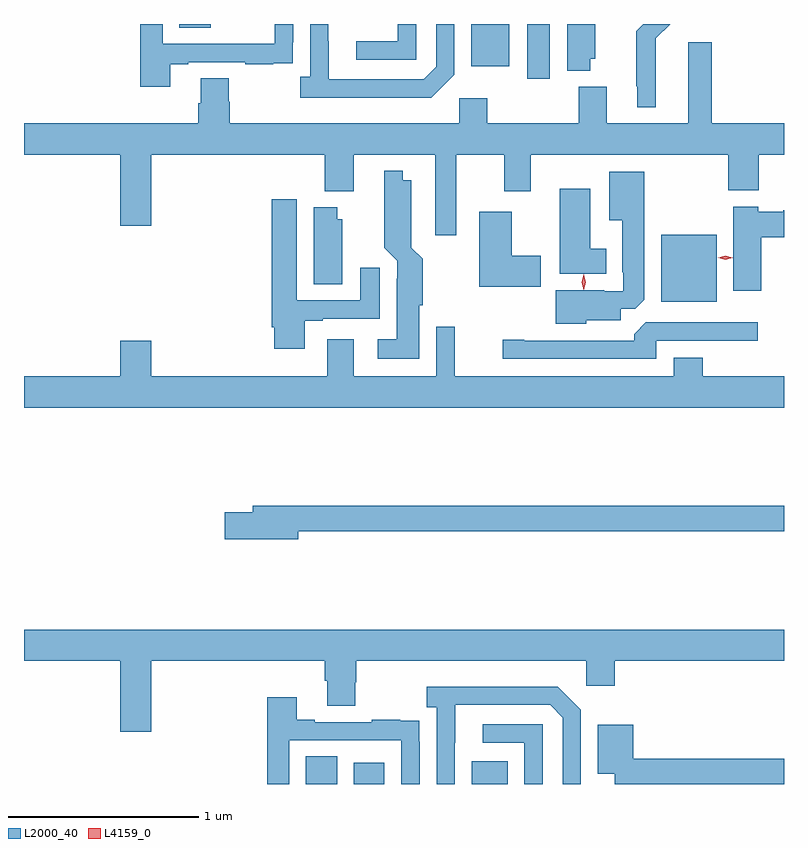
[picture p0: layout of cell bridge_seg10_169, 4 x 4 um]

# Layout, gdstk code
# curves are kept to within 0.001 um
import gdstk
lib = gdstk.Library(unit=1e-6, precision=1e-09)
def R(c, l, rs):  # rectangles x0, y0, x1, y1
    for r in rs: c.add(gdstk.rectangle(r[:2], r[2:], *l))
def P(c, l, *ps):  # polygons
    for p in ps: c.add(gdstk.Polygon(p, *l))
L2000_40 = (2000, 40)
L4159_0 = (4159, 0)

bridge_seg10_169 = lib.new_cell('bridge_seg10_169')
R(bridge_seg10_169, L2000_40, [(225.926,1281.019,226.09,1281.164), (226.178,1281.019,226.339,1281.13), (226.799,1281.019,226.987,1281.139), (227.795,1283.558,228.088,1283.911), (227.09,1284.732,227.209,1285.019), (226.796,1284.797,226.996,1285.019), (225.26,1285,225.424,1285.019)])
P(bridge_seg10_169, L2000_40, [(225.211,1284.807),(225.307,1284.807),(225.307,1284.819),(225.607,1284.819),(225.607,1284.807),(225.755,1284.807),(225.755,1284.813),(225.857,1284.813),(225.857,1284.922),(225.858,1284.922),(225.858,1285.019),(225.762,1285.019),(225.762,1284.915),(225.171,1284.915),(225.171,1285.019),(225.055,1285.019),(225.055,1284.69),(225.211,1284.69)],
  [(226.707,1284.753),(226.707,1285.019),(226.611,1285.019),(226.611,1284.795),(226.545,1284.729),(226.045,1284.729),(226.044,1285.019),(225.948,1285.019),(225.948,1284.742),(225.897,1284.742),(225.897,1284.632),(226.586,1284.632)],
  [(227.422,1284.837),(227.449,1284.837),(227.449,1285.019),(227.3,1285.019),(227.3,1284.773),(227.422,1284.773)],
  [(226.506,1285.019),(226.41,1285.019),(226.41,1284.927),(226.191,1284.927),(226.191,1284.831),(226.506,1284.831)],
  [(227.767,1284.944),(227.842,1285.019),(227.702,1285.019),(227.665,1284.982),(227.665,1284.691),(227.669,1284.691),(227.669,1284.581),(227.767,1284.581)],
  [(228.062,1284.922),(227.939,1284.922),(227.939,1284.496),(227.509,1284.496),(227.509,1284.688),(227.362,1284.688),(227.362,1284.496),(226.881,1284.496),(226.881,1284.628),(226.734,1284.628),(226.734,1284.496),(225.524,1284.496),(225.524,1284.609),(225.519,1284.609),(225.519,1284.734),(225.371,1284.734),(225.371,1284.602),(225.359,1284.602),(225.359,1284.496),(224.442,1284.496),(224.442,1284.332),(224.948,1284.332),(224.948,1283.958),(225.112,1283.958),(225.112,1284.332),(226.025,1284.332),(226.025,1284.14),(226.177,1284.14),(226.177,1284.332),(226.607,1284.332),(226.607,1283.907),(226.717,1283.907),(226.717,1284.332),(226.97,1284.332),(226.97,1284.138),(227.11,1284.138),(227.11,1284.332),(228.148,1284.332),(228.148,1284.143),(228.308,1284.143),(228.308,1284.332),(228.442,1284.332),(228.442,1284.496),(228.062,1284.496)],
  [(226.522,1283.538),(226.54,1283.538),(226.54,1283.783),(226.481,1283.842),(226.48,1284.196),(226.435,1284.196),(226.435,1284.247),(226.338,1284.247),(226.337,1283.842),(226.407,1283.772),(226.407,1283.678),(226.403,1283.678),(226.403,1283.359),(226.305,1283.359),(226.305,1283.258),(226.522,1283.258)],
  [(227.4,1283.459),(227.584,1283.459),(227.584,1283.52),(227.658,1283.52),(227.707,1283.569),(227.707,1284.241),(227.522,1284.241),(227.522,1283.987),(227.591,1283.987),(227.591,1283.713),(227.595,1283.713),(227.595,1283.613),(227.495,1283.613),(227.495,1283.617),(227.24,1283.617),(227.24,1283.441),(227.4,1283.441)],
  [(227.506,1283.836),(227.422,1283.836),(227.422,1284.151),(227.261,1284.151),(227.261,1283.705),(227.506,1283.705)],
  [(225.919,1283.457),(226.015,1283.457),(226.015,1283.469),(226.315,1283.469),(226.315,1283.737),(226.211,1283.737),(226.211,1283.565),(225.877,1283.565),(225.877,1284.097),(225.746,1284.097),(225.746,1283.422),(225.758,1283.422),(225.758,1283.31),(225.919,1283.31)],
  [(228.323,1283.897),(228.442,1283.897),(228.442,1284.039),(228.437,1284.039),(228.437,1284.031),(228.306,1284.031),(228.306,1284.058),(228.176,1284.058),(228.176,1283.616),(228.323,1283.616)],
  [(226.117,1283.991),(226.09,1283.991),(226.09,1284.055),(225.968,1284.055),(225.968,1283.65),(226.117,1283.65)],
  [(227.161,1283.799),(227.008,1283.799),(227.008,1284.031),(226.838,1284.031),(226.838,1283.636),(227.161,1283.636)],
  [(227.769,1283.352),(228.304,1283.352),(228.304,1283.448),(227.715,1283.448),(227.654,1283.386),(227.654,1283.352),(227.074,1283.352),(227.074,1283.357),(226.962,1283.357),(226.962,1283.256),(227.769,1283.256)],
  [(226.611,1283.425),(226.611,1283.164),(226.177,1283.164),(226.177,1283.359),(226.037,1283.359),(226.037,1283.164),(225.112,1283.164),(225.112,1283.353),(224.948,1283.353),(224.948,1283.164),(224.442,1283.164),(224.442,1283),(228.442,1283),(228.442,1283.164),(228.014,1283.164),(228.014,1283.263),(227.861,1283.263),(227.861,1283.164),(226.71,1283.164),(226.71,1283.425)],
  [(225.886,1282.348),(228.442,1282.348),(228.442,1282.484),(225.647,1282.484),(225.647,1282.448),(225.498,1282.448),(225.498,1282.306),(225.886,1282.306)],
  [(225.112,1281.668),(226.025,1281.668),(226.025,1281.562),(226.037,1281.562),(226.037,1281.43),(226.185,1281.43),(226.185,1281.555),(226.19,1281.555),(226.19,1281.668),(227.4,1281.668),(227.4,1281.537),(227.552,1281.537),(227.552,1281.668),(228.442,1281.668),(228.442,1281.832),(224.442,1281.832),(224.442,1281.668),(224.948,1281.668),(224.948,1281.294),(225.112,1281.294)],
  [(226.71,1281.235),(226.711,1281.435),(227.211,1281.435),(227.277,1281.369),(227.277,1281.019),(227.373,1281.019),(227.373,1281.411),(227.252,1281.532),(226.563,1281.532),(226.563,1281.422),(226.614,1281.422),(226.614,1281.019),(226.71,1281.019)],
  [(225.837,1281.249),(226.428,1281.249),(226.428,1281.019),(226.524,1281.019),(226.524,1281.242),(226.523,1281.242),(226.523,1281.351),(226.421,1281.351),(226.421,1281.358),(226.273,1281.358),(226.273,1281.345),(225.973,1281.345),(225.973,1281.358),(225.877,1281.358),(225.877,1281.475),(225.721,1281.475),(225.721,1281.019),(225.837,1281.019)],
  [(227.172,1281.333),(226.857,1281.333),(226.857,1281.237),(227.076,1281.237),(227.076,1281.019),(227.172,1281.019)],
  [(228.442,1281.152),(227.649,1281.152),(227.649,1281.331),(227.462,1281.331),(227.462,1281.074),(227.552,1281.074),(227.552,1281.019),(228.442,1281.019)])
P(bridge_seg10_169, L4159_0, [(228.133,1283.779),(228.095,1283.788),(228.094,1283.788),(228.095,1283.788),(228.133,1283.799),(228.172,1283.79),(228.172,1283.79),(228.172,1283.79)],
  [(227.388,1283.62),(227.388,1283.62),(227.378,1283.661),(227.388,1283.702),(227.388,1283.702),(227.388,1283.702),(227.398,1283.661),(227.388,1283.62)])

lib.write_gds('bridge_seg10_169.gds')
